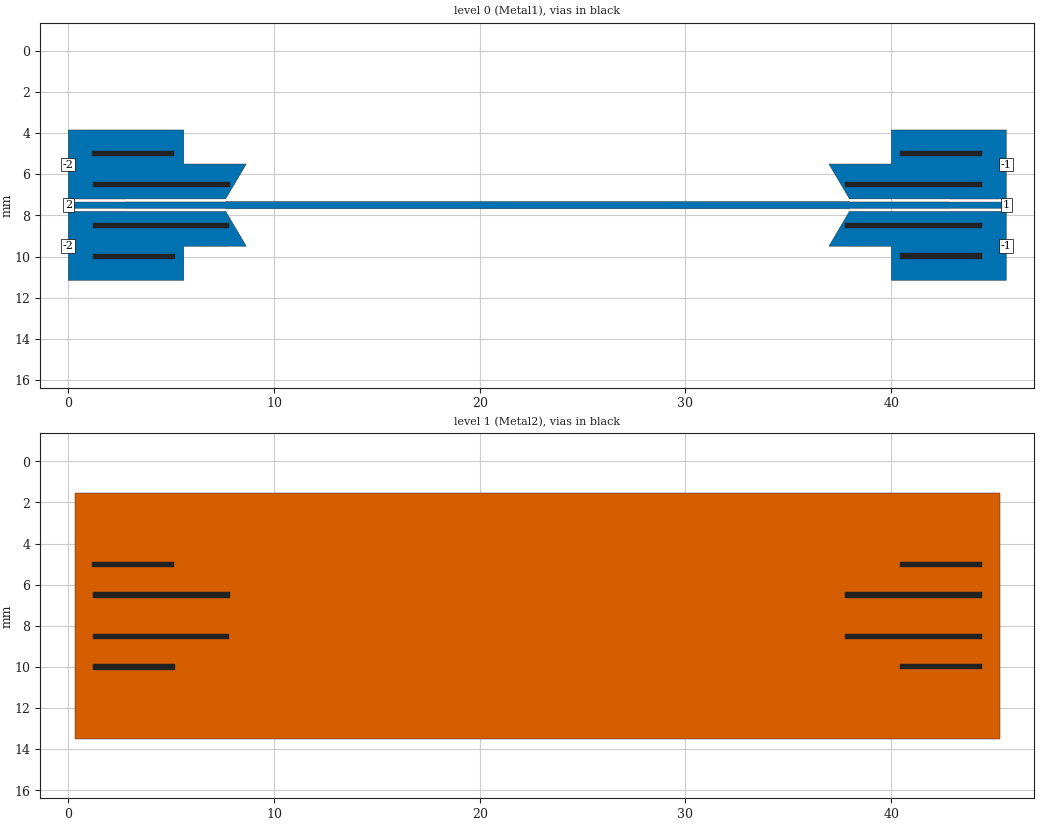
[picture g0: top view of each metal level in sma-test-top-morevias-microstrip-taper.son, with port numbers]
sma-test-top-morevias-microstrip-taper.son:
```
FTYP SONPROJ 18 ! Sonnet Project File
VER 17.56
HEADER
LIC antikernel2.1.50170 ac1f6b6437c5 havequick azonenberg Level3Gold
DAT 04/13/2021 05:54:55
BUILT_BY_CREATED dxf 17.52.2 05/01/2020 05:35:06
BUILT_BY_SAVED sonnet 17.56
MDATE 04/13/2021 05:54:55
HDATE 04/13/2021 05:54:55
ANN Created by dxfgeo, Sonnet Software Inc.
END HEADER
DIM
ANG DEG
CAP PF
CON /OH
FREQ GHZ
IND NH
LNG MM
RES OH
END DIM
CONTROL
VARSWP
OPTIONS  -dj
SPEED 1
CACHE_ABS 1
Q_ACC N
END CONTROL
GEO
SYM
TMET "Free Space" 0 FREESPACE 376.7303136 0 0 0
BMET "Free Space" 0 FREESPACE 376.7303136 0 0 0
MET "Copper 1oz thick" 2 TMM 58000000 0.5 0.035 2
MET "Nickel " 3 TMM 14300000 0.5 3.5e-05 2
MET "Copper 0.5oz" 1 NOR 58000000 0.5 0.0175 
MET "Unknown_metal" 1 NOR INF 0.5 0 
MET "Unknown_metal" 1 VOL INF 0
BRI "Alumina (96%)" 0 9.4 0.0004 0 
BRI "Alumina (99.5%)" 0 9.9 0.0001 0 
BRI "Aluminum Nitride" 0 8.6 0.0003 0 
BRI "Arlon 25FR" 0 3.58 0.0035 0 
BRI "Arlon 25N" 0 3.38 0.0025 0 
BRI "Arlon AD5" 0 5.1 0.003 0 
BRI "Arlon AD10" 0 10.2 0.005 0 
BRI "Arlon AD250" 0 2.5 0.0018 0 
BRI "Arlon AD255A" 0 2.55 0.0015 0 
BRI "Arlon AD260A" 0 2.6 0.0018 0 
BRI "Arlon AD270" 0 2.7 0.0023 0 
BRI "Arlon AD300A" 0 3 0.002 0 
BRI "Arlon AD320A" 0 3.2 0.0032 0 
BRI "Arlon AD350A" 0 3.5 0.003 0 
BRI "Arlon AD410" 0 4.1 0.003 0 
BRI "Arlon AD430" 0 4.3 0.003 0 
BRI "Arlon AD450" 0 4.5 0.0035 0 
BRI "Arlon AD600" 0 6.15 0.003 0 
BRI "Arlon AD1000" 0 10.2 0.0023 0 
BRI "Arlon AR1000" 0 9.8 0.003 0 
BRI "Arlon CLTE" 0 2.96 0.0023 0 
BRI "Arlon CLTE-AT" 0 3 0.0013 0 
BRI "Arlon CLTE-P" 0 2.94 0.0025 0 
BRI "Arlon CLTE-XT" 0 2.94 0.0012 0 
BRI "Arlon Cu 217LX" 0 2.17 0.0009 0 
BRI "Arlon Cu 233LX" 0 2.33 0.0013 0 
BRI "Arlon Cu 250GT" 0 2.5 0.001 0 
BRI "Arlon Cu 250GX" 0 2.5 0.0018 0 
BRI "Arlon Cu 6250" 0 2.32 0.0013 0 
BRI "Arlon Cu 6700" 0 2.35 0.0025 0 
BRI "Arlon Di 522" 0 2.5 0.001 0 
BRI "Arlon Di 527" 0 2.5 0.0018 0 
BRI "Arlon Di 870" 0 2.33 0.0013 0 
BRI "Arlon Di 880" 0 2.17 0.0009 0 
BRI "Arlon Iso 917" 0 2.17 0.0013 0 
BRI "Arlon Iso 933" 0 2.33 0.0016 0 
BRI "Arlon Multi HF" 0 3.7 0.004 0 
BRI "Arlon TC350" 0 3.5 0.002 0 
BRI "Arlon TC600" 0 6.15 0.002 0 
BRI "Beryllia (99.5%)" 0 6.5 0.0004 0 
BRI "CEM-1" 0 4.5 0.02 0 
BRI "CEM-3" 0 4.5 0.02 0 
BRI "Dupont 9K7" 0 7.1 0.0012 0 
BRI "Dupont 943" 0 7.4 0.002 0 
BRI "Dupont 951" 0 7.8 0.006 0 
BRI "Dupont FEP" 0 2 0.0005 0 
BRI "Dupont Vacrel" 0 3.8 0.011 0 
BRI "ESL 41010" 0 7.5 0.005 0 
BRI "ESL 41020" 0 7.25 0.005 0 
BRI "ESL 41050" 0 13.5 0.002 0 
BRI "ESL 41060" 0 16.5 0.002 0 
BRI "ESL 41110" 0 4.5 0.004 0 
BRI "Ferro A6M" 0 5.9 0.002 0 
BRI "Ferro A6S" 0 5.9 0.002 0 
BRI "Ferro L8" 0 7.3 0.0018 0 
BRI "FR-4" 0 4.4 0.02 0 
BRI "G-10" 0 4.8 0.025 0 
BRI "Gallium Arsenide" 0 12.9 0.006 0 
BRI "Gallium Nitride" 0 9.7 0 0 
BRI "Glass (Pyrex)" 0 4.82 0.0054 0 
BRI "Heraeus HL2000" 0 7.3 0.0026 0 
BRI "Isola 370HR" 0 4.04 0.021 0 
BRI "Isola FR408" 0 3.77 0.0116 0 
BRI "Isola FR408HR" 0 3.68 0.0092 0 
BRI "Isola Getek" 0 3.6 0.01 0 
BRI "Isola GI-180" 0 3.7 0.013 0 
BRI "Isola IS415" 0 3.82 0.0125 0 
BRI "Isola IS620i" 0 3.58 0.006 0 
BRI "Isola IS680-280" 0 2.8 0.0025 0 
BRI "Isola IS680-300" 0 3 0.003 0 
BRI "Isola IS680-320" 0 3.2 0.003 0 
BRI "Isola IS680-333" 0 3.33 0.003 0 
BRI "Isola IS680-338" 0 3.38 0.0032 0 
BRI "Isola IS680-345" 0 3.45 0.0036 0 
BRI "Kerafol CT800" 0 5.3 0.008 0 
BRI "Nelco MW9350" 0 3.7 0.004 0 
BRI "Nelco N4000-12" 0 3.7 0.008 0 
BRI "Nelco N4000-13" 0 3.7 0.009 0 
BRI "Nelco N4000-13SI" 0 3.2 0.007 0 
BRI "Nelco N4000-13EP" 0 3.7 0.008 0 
BRI "Nelco N4350-13RF" 0 3.5 0.0065 0 
BRI "Nelco N4380-13RF" 0 3.8 0.007 0 
BRI "Nelco N9300-13RF" 0 3 0.004 0 
BRI "Nelco N9320-13RF" 0 3.2 0.0045 0 
BRI "Nelco N9338-13RF" 0 3.38 0.0046 0 
BRI "Nelco N9350-13RF" 0 3.48 0.0055 0 
BRI "Nelco NH9294" 0 2.94 0.0022 0 
BRI "Nelco NH9300" 0 3 0.0023 0 
BRI "Nelco NH9320" 0 3.2 0.0024 0 
BRI "Nelco NH9338" 0 3.38 0.0025 0 
BRI "Nelco NH9348" 0 3.48 0.003 0 
BRI "Nelco NH9350" 0 3.5 0.003 0 
BRI "Nelco NH9410" 0 4.1 0.003 0 
BRI "Nelco NH9450" 0 4.5 0.003 0 
BRI "Nelco NX9240" 0 2.4 0.0016 0 
BRI "Nelco NX9245" 0 2.45 0.0016 0 
BRI "Nelco NX9250" 0 2.5 0.0017 0 
BRI "Nelco NX9255" 0 2.55 0.0018 0 
BRI "Nelco NX9260" 0 2.6 0.0019 0 
BRI "Nelco NY9208" 0 2.08 0.0006 0 
BRI "Nelco NY9217" 0 2.17 0.0008 0 
BRI "Nelco NY9220" 0 2.2 0.0009 0 
BRI "Nelco NY9233" 0 2.33 0.0011 0 
BRI "PET" 0 3.37 0.0208 0 
BRI "Polyimide" 0 3.5 0.003 0 
BRI "Quartz (Fused)" 0 3.78 0.0001 0 
BRI "Rogers 3001" 0 2.28 0.003 0 
BRI "Rogers RO2808" 0 7.6 0.0015 0 
BRI "Rogers RO3003" 0 3 0.0013 0 
BRI "Rogers RO3006" 0 6.5 0.002 0 
BRI "Rogers RO3010" 0 11.2 0.0022 0 
BRI "Rogers RO3035" 0 3.6 0.0018 0 
BRI "Rogers RO3203" 0 3.02 0.0016 0 
BRI "Rogers RO3206" 0 6.6 0.0027 0 
BRI "Rogers RO3210" 0 10.8 0.0027 0 
BRI "Rogers RO3730" 0 3 0.0016 0 
BRI "Rogers RO4003C" 0 3.55 0.0029 0 
BRI "Rogers RO4533" 0 3.45 0.0029 0 
BRI "Rogers RO4534" 0 3.4 0.003 0 
BRI "Rogers RO4350B" 0 3.66 0.0037 0 
BRI "Rogers RO4350BTX" 0 3.66 0.0034 0 
BRI "Rogers RO4360" 0 6.15 0.0038 0 
BRI "Rogers RO4450B-3.6" 0 3.3 0.0043 0 
BRI "Rogers RO4450B-4" 0 3.54 0.004 0 
BRI "Rogers RO4450F" 0 3.52 0.0041 0 
BRI "Rogers RO4730" 0 3 0.0033 0 
BRI "Rogers RT5870" 0 2.33 0.0012 0 
BRI "Rogers RT5880" 0 2.2 0.0009 0 
BRI "Rogers RT5880LZ" 0 1.96 0.0019 0 
BRI "Rogers RT6002" 0 2.94 0.0012 0 
BRI "Rogers RT6006" 0 6.15 0.0027 0 
BRI "Rogers RT6010LM" 0 10.9 0.0023 0 
BRI "Rogers RT6035HTC" 0 3.6 0.0013 0 
BRI "Rogers RT6202" 0 2.94 0.0015 0 
BRI "Rogers RT6202PR" 0 2.95 0.0015 0 
BRI "Rogers Syron7000" 0 3.4 0.0045 0 
BRI "Rogers Syron7100-2" 0 3.61 0.006 0 
BRI "Rogers Syron7100-4" 0 3.39 0.005 0 
BRI "Rogers Theta" 0 4.01 0.0118 0 
BRI "Rogers TMM 3" 0 3.39 0.002 0 
BRI "Rogers TMM 4" 0 4.5 0.002 0 
BRI "Rogers TMM 6" 0 6 0.0023 0 
BRI "Rogers TMM 10" 0 9.56 0.0022 0 
BRI "Rogers TMM 10i" 0 9.96 0.002 0 
BRI "Rogers UL2000" 0 2.5 0.0019 0 
BRI "Rogers UL3850" 0 3.05 0.0025 0 
BRI "Rogers UL3908" 0 2.9 0.0025 0 
BRI "Rogers XT8000" 0 3.34 0.0035 0 
BRI "Rogers XT8100-2" 0 3.54 0.0049 0 
BRI "Rogers XT8100-4" 0 3.32 0.0038 0 
BRI "Silicon (intrinsic)" 0 11.9 0.004 0.00044 
BRI "Silicon Dioxide" 0 3.9 0 0 
BRI "Silicon Nitride" 0 7.5 0 0 
BRI "Taconic CER-10" 0 10 0.0035 0 
BRI "Taconic FastFilm" 0 2.7 0.0012 0 
BRI "Taconic Fastrise-DS" 0 2.96 0.0018 0 
BRI "Taconic Fastrise27" 0 2.7 0.0014 0 
BRI "Taconic Fastrise77" 0 7.7 0.0034 0 
BRI "Taconic FEP" 0 2 0.0003 0 
BRI "Taconic RF-30" 0 3 0.0014 0 
BRI "Taconic RF-35" 0 3.5 0.0018 0 
BRI "Taconic RF-35A2" 0 3.5 0.0011 0 
BRI "Taconic RF-35P" 0 3.5 0.0025 0 
BRI "Taconic RF-41" 0 4.1 0.0038 0 
BRI "Taconic RF-43" 0 4.3 0.0033 0 
BRI "Taconic RF-45" 0 4.5 0.0037 0 
BRI "Taconic RF-60A" 0 6.15 0.0038 0 
BRI "Taconic RF-301" 0 2.97 0.0012 0 
BRI "Taconic TacBond HT" 0 2.35 0.0025 0 
BRI "Taconic TLA-6" 0 2.62 0.0012 0 
BRI "Taconic TLC-27" 0 2.75 0.003 0 
BRI "Taconic TLC-30" 0 3 0.003 0 
BRI "Taconic TLC-32" 0 3.2 0.003 0 
BRI "Taconic TLE-95" 0 2.95 0.0028 0 
BRI "Taconic TLF-34" 0 3.4 0.002 0 
BRI "Taconic TLF-35" 0 3.5 0.002 0 
BRI "Taconic TLP-3" 0 2.33 0.0009 0 
BRI "Taconic TLP-5" 0 2.2 0.0009 0 
BRI "Taconic TLP-5A" 0 2.17 0.0009 0 
BRI "Taconic TLT-0" 0 2.45 0.0006 0 
BRI "Taconic TLT-9" 0 2.5 0.0006 0 
BRI "Taconic TLT-8" 0 2.55 0.0006 0 
BRI "Taconic TLT-7" 0 2.6 0.0006 0 
BRI "Taconic TLT-6" 0 2.65 0.0006 0 
BRI "Taconic TLX-0" 0 2.45 0.0019 0 
BRI "Taconic TLX-9" 0 2.5 0.0019 0 
BRI "Taconic TLX-8" 0 2.55 0.0019 0 
BRI "Taconic TLX-7" 0 2.6 0.0019 0 
BRI "Taconic TLX-6" 0 2.65 0.0019 0 
BRI "Taconic TLY-3" 0 2.33 0.0009 0 
BRI "Taconic TLY-3F" 0 2.33 0.0009 0 
BRI "Taconic TLY-5" 0 2.2 0.0009 0 
BRI "Taconic TLY-5-L" 0 2.2 0.0009 0 
BRI "Taconic TLY-5A" 0 2.17 0.0009 0 
BRI "Taconic TLY-5A-L" 0 2.17 0.0009 0 
BRI "Taconic TPG-30" 0 3 0.0038 0 
BRI "Taconic TPG-32" 0 3.2 0.005 0 
BRI "Taconic TPG-35" 0 3.5 0.005 0 
BRI "Taconic TRF-41" 0 4.1 0.0035 0 
BRI "Taconic TRF-43" 0 4.3 0.0035 0 
BRI "Taconic TRF-45" 0 4.5 0.0035 0 
BRI "Taconic TSM-DS" 0 2.85 0.001 0 
BRI "Taconic TSM-DS3" 0 3 0.0011 0 
BRI "Taconic TSM-26" 0 2.6 0.0014 0 
BRI "Taconic TSM-29" 0 2.94 0.0013 0 
BRI "Taconic TSM-30" 0 3 0.0013 0 
BRI "Teflon (PTFE)" 0 2.08 0.0004 0 
BOX 3 45.6 15 3648 1200 20 0
      1 1 1 0 0 0 0 "Air"
      0.166 3.6 1 0.0092 0 0 0 "Isola FR408HR"
      1.4 3.6 1 0.0092 0 0 0 "Isola FR408HR"
      1 1 1 0 0 0 0 "Air"
TECHLAY METAL Metal1 BLACK -2 0 
0 0 0 N 1189 1 1 100 100 0 0 0 Y
END
END
TECHLAY METAL Metal2 BLACK -3 0 
1 0 2 N 1198 1 1 100 100 0 0 0 Y
END
END
TECHLAY VIA Via1 <UNSPECIFIED> -4 0 
VIA POLYGON
1 0 -1 N 1200 1 1 100 100 0 0 0 Y
TOLEVEL 0 RING NOCOVERS
END
END
VALVAR BOTLEN LNG 2 "Dim. Param."
VALVAR TOPLEN LNG 3 "Dim. Param."
DIM STD YDIR 1
POS -1.48380781 8.114546708
NOM 11.95
REF1 POLY 718 1
1
REF2 POLY 718 1
2
END
DIM STD YDIR -1
POS 0.1783334207 -0.9921467995
NOM 1.25
REF1 POLY 1219 1
1
REF2 POLY 962 1
3
END
VALVAR MICROWIDTH LNG 0.35 "Dim. Param."
LORGN 0 15 U 
POR1 BOX
POLY 1233 1
5
1 50 0 0 0 45.6 7.5 
POR1 BOX
POLY 1233 1
19
2 50 0 0 0 0 7.5 
POR1 BOX
POLY 1238 1
12
-2 50 0 0 0 0 9.48 
POR1 BOX
POLY 1239 1
13
-2 50 0 0 0 0 5.525 
POR1 BOX
POLY 1240 1
2
-1 50 0 0 0 45.6 5.52 
POR1 BOX
POLY 1241 1
14
-1 50 0 0 0 45.6 9.48 
NUM 14
0 29 0 N 1233 1 1 100 100 0 0 0 Y
TLAYNAM Metal1 INH
37.975 7.655
42.8205 7.655
42.8355 7.654
42.8505 7.651
42.8535 7.65
45.6 7.65
45.6 7.35
42.8535 7.35
42.8505 7.349
42.8355 7.346
42.8205 7.345
37.975 7.345
37.975 7.325
7.65 7.325
7.65 7.345
2.8045 7.345
2.7895 7.346
2.7745 7.349
2.7715 7.35
0 7.35
0 7.65
2.7715 7.65
2.7745 7.651
2.7895 7.654
2.8045 7.655
7.65 7.655
7.65 7.675
37.975 7.675
37.975 7.655
END
0 16 0 N 1238 1 1 100 100 0 0 0 Y
TLAYNAM Metal1 INH
5.6125 9.5
7.65 9.5
7.65 9.495
8.65 9.495
7.65 7.8
7.65 7.805
2.7965 7.805
2.7725 7.803
2.7585 7.801
0.3835 7.801
0.3695 7.803
0.3625 7.805
0 7.805
0 11.155
5.6125 11.155
5.6125 9.5
END
0 17 0 N 1239 1 1 100 100 0 0 0 Y
TLAYNAM Metal1 INH
0.05 7.195
0.3625 7.195
0.3695 7.197
0.3835 7.199
2.7615 7.199
2.7725 7.197
2.7905 7.195
7.65 7.195
8.65 5.5
5.6125 5.5
5.6125 3.845
0.0125 3.845
0.0125 3.85
0 3.85
0 7.2
0.05 7.2
0.05 7.195
END
0 15 0 N 1240 1 1 100 100 0 0 0 Y
TLAYNAM Metal1 INH
45.2555 7.197
45.2625 7.195
45.6 7.195
45.6 3.845
40.0125 3.845
40.0125 5.5
37.975 5.5
37.975 5.5
36.975 5.5
37.975 7.195
42.8285 7.195
42.8525 7.197
42.8665 7.199
45.2415 7.199
45.2555 7.197
END
0 16 0 N 1241 1 1 100 100 0 0 0 Y
TLAYNAM Metal1 INH
45.6 7.805
45.2625 7.805
45.2555 7.803
45.2415 7.801
42.8635 7.801
42.8525 7.803
42.8345 7.805
37.975 7.805
37.975 7.8
36.975 9.495
37.975 9.495
37.975 9.5
40.0125 9.5
40.0125 11.155
45.6 11.155
45.6 7.805
END
VIA POLYGON
0 5 -1 N 962 1 1 100 100 0 0 0 Y
TOLEVEL 1 RING NOCOVERS
1.15 4.875
5.15 4.875
5.15 5.125
1.15 5.125
1.15 4.875
END
VIA POLYGON
0 5 -1 N 965 1 1 100 100 0 0 0 Y
TOLEVEL 1 RING NOCOVERS
1.175 9.875
5.175 9.875
5.175 10.125
1.175 10.125
1.175 9.875
END
VIA POLYGON
0 5 -1 N 966 1 1 100 100 0 0 0 Y
TOLEVEL 1 RING NOCOVERS
40.425 4.875
44.425 4.875
44.425 5.125
40.425 5.125
40.425 4.875
END
VIA POLYGON
0 5 -1 N 968 1 1 100 100 0 0 0 Y
TOLEVEL 1 RING NOCOVERS
40.425 9.85
44.425 9.85
44.425 10.1
40.425 10.1
40.425 9.85
END
1 5 2 N 718 1 1 100 100 0 0 0 Y
TLAYNAM Metal2 INH
45.3125 1.525
0.3125 1.525
0.3125 13.475
45.3125 13.475
45.3125 1.525
END
VIA POLYGON
1 5 -1 N 1218 1 1 100 100 0 0 0 Y
TOLEVEL 0 RING NOCOVERS
TLAYNAM Via1 INH
44.4325 6.375
37.775 6.375
37.775 6.625
44.4325 6.625
44.4325 6.375
END
VIA POLYGON
1 5 -1 N 1219 1 1 100 100 0 0 0 Y
TOLEVEL 0 RING NOCOVERS
TLAYNAM Via1 INH
7.85 6.375
1.175 6.375
1.175 6.625
7.85 6.625
7.85 6.375
END
VIA POLYGON
1 5 -1 N 1220 1 1 100 100 0 0 0 Y
TOLEVEL 0 RING NOCOVERS
TLAYNAM Via1 INH
44.4325 8.375
37.775 8.375
37.775 8.625
44.4325 8.625
44.4325 8.375
END
VIA POLYGON
1 5 -1 N 1221 1 1 100 100 0 0 0 Y
TOLEVEL 0 RING NOCOVERS
TLAYNAM Via1 INH
7.825 8.375
1.175 8.375
1.175 8.625
7.825 8.625
7.825 8.375
END
END GEO
OPT
MAX 100
END OPT
VARSWP
ENABLED Y
FREQ Y AY ABS_ENTRY 0.01 16.0 -1 300 
VAR MICROWIDTH N 0.31 0.31 UNDEF
END
END VARSWP
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```
